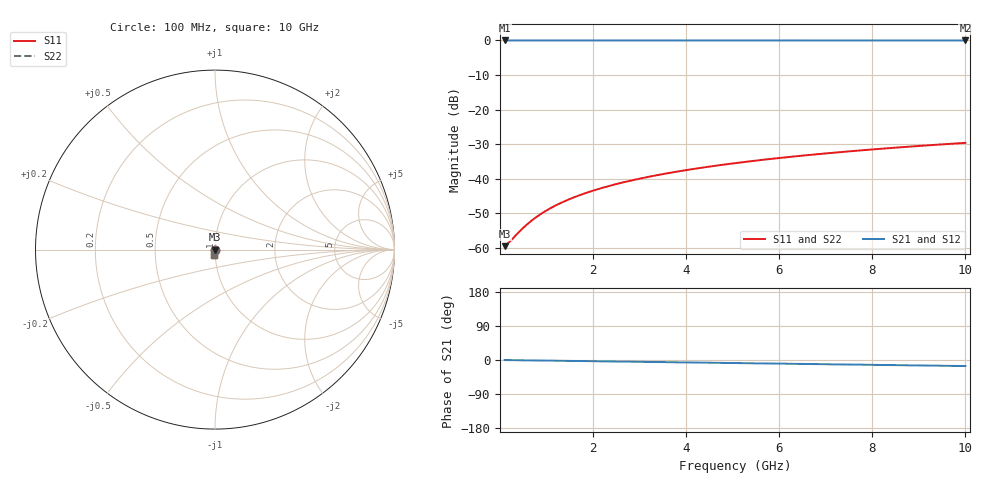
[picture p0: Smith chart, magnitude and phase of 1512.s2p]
# Hz S RI R 50.00
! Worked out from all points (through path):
!   100 points, 100 MHz to 10 GHz, reference 50 ohm
!   highest |S21| = -0.01 dB at 100 MHz (marker M1); lowest = 0.0 dB at 10 GHz (marker M2)
!   group delay of S21, straight-line fit = 4.44 ps
!   lowest |S11| = -59.6 dB at 100 MHz (marker M3), VSWR 1.00, Z = 50.1 - j0.0334 ohm
!   |S11| at or under -10 dB: start of sweep to end of sweep
!   |S22| runs from -59.6 to -29.7 dB; largest |S21 - S12| = 0
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1e8  0.000997 -0.000333  0.999 -0.00277  0.999 -0.00277  0.000997 -0.000333
2e8  0.000999 -0.000666  0.999 -0.00555  0.999 -0.00555  0.000999 -0.000666
4e8  0.000994 -0.00133  0.9989 -0.0111  0.9989 -0.0111  0.000994 -0.00133
5e8  0.000988 -0.00166  0.9989 -0.0139  0.9989 -0.0139  0.000988 -0.00166
6e8  0.000979 -0.002  0.9988 -0.0166  0.9988 -0.0166  0.000979 -0.002
7e8  0.000969 -0.00233  0.9988 -0.0194  0.9988 -0.0194  0.000969 -0.00233
9e8  0.000941 -0.003  0.9986 -0.025  0.9986 -0.025  0.000941 -0.003
1.1e9  0.000906 -0.00366  0.9985 -0.0305  0.9985 -0.0305  0.000906 -0.00366
1.3e9  0.000863 -0.00433  0.9983 -0.0361  0.9983 -0.0361  0.000863 -0.00433
1.5e9  0.000812 -0.00499  0.9981 -0.0416  0.9981 -0.0416  0.000812 -0.00499
1.8e9  0.000722 -0.00599  0.9977 -0.0499  0.9977 -0.0499  0.000722 -0.00599
2.1e9  0.000614 -0.00698  0.9972 -0.0583  0.9972 -0.0583  0.000614 -0.00698
2.5e9  0.000445 -0.00831  0.9965 -0.0693  0.9965 -0.0693  0.000445 -0.00831
2.9e9  0.000245 -0.00963  0.9956 -0.0804  0.9956 -0.0804  0.000245 -0.00963
3.4e9  -4.53e-05 -0.0113  0.9944 -0.0943  0.9944 -0.0943  -4.53e-05 -0.0113
4.2e9  -0.000606 -0.0139  0.992 -0.1164  0.992 -0.1164  -0.000606 -0.0139
5.1e9  -0.00138 -0.0168  0.9887 -0.1412  0.9887 -0.1412  -0.00138 -0.0168
5.9e9  -0.00219 -0.0194  0.9852 -0.1632  0.9852 -0.1632  -0.00219 -0.0194
6.7e9  -0.00311 -0.0219  0.9812 -0.1851  0.9812 -0.1851  -0.00311 -0.0219
7.5e9  -0.00414 -0.0244  0.9768 -0.207  0.9768 -0.207  -0.00414 -0.0244
8.4e9  -0.00544 -0.0272  0.9712 -0.2315  0.9712 -0.2315  -0.00544 -0.0272
1e10  -0.00809 -0.0319  0.9596 -0.2746  0.9596 -0.2746  -0.00809 -0.0319
